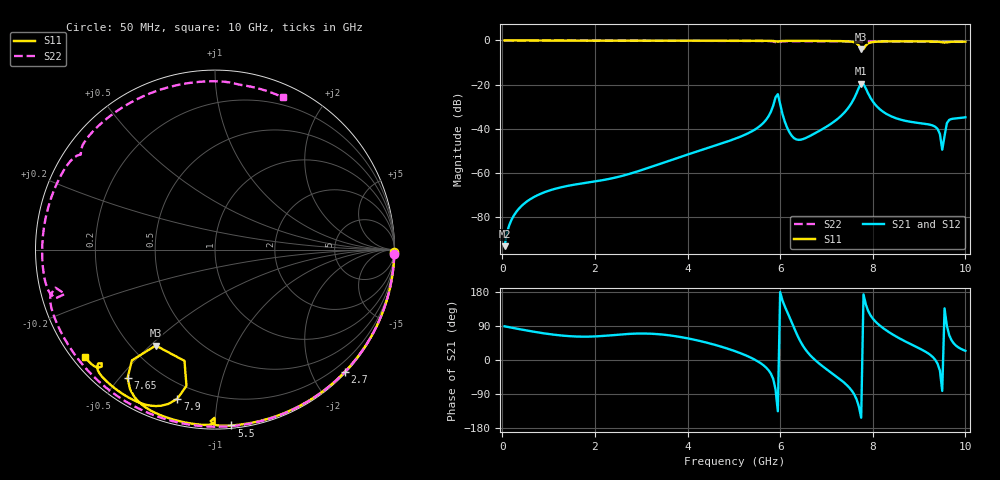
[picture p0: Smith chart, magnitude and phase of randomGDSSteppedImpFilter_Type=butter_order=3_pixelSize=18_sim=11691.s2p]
! freq	dB(S11)	phase(S11)	dB(S12)	phase(S12)
!  dB(S21)	phase(S21)	dB(S22)	phase(S22)
!S-par simulation data
#  GHz  S  DB  R 50
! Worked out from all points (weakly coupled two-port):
!   200 points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, 50 MHz to 10 GHz, reference 50 ohm
!   highest |S21| = -19.54 dB at 7.75 GHz (marker M1); lowest = -93.2 dB at 50 MHz (marker M2)
!   lowest |S11| = -4.0 dB at 7.75 GHz (marker M3), VSWR 4.38, Z = 14.7 - j26 ohm
!   |S11| at or under -10 dB: nowhere
!   |S22| runs from -1.2 to 0.0 dB; largest |S21 - S12| = 0
!   S11 on the Smith chart (normalised r, x): 50 MHz: open; 2.7 GHz: 0.02, -2.53; 5.5 GHz: 0.02, -1.10; 7.65 GHz: 0.09, -0.53; 7.9 GHz: 0.12, -0.77; 10 GHz: 0.04, -0.36
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0.05  -0.01 -0.8  -93.25 88.9  -93.25 88.9  -0.01 -1.5
0.85  -0.02 -13.9  -69.30 71.3  -69.30 71.3  -0.03 -26.0
1.75  -0.04 -28.3  -64.71 61.6  -64.71 61.6  -0.07 -52.7
2.7  -0.06 -43.2  -60.75 68.6  -60.75 68.6  -0.10 -79.6
3.4  -0.07 -53.9  -55.98 67.8  -55.98 67.8  -0.13 -98.6
5.05  -0.12 -78.1  -44.37 22.2  -44.37 22.2  -0.21 -141.6
5.5  -0.14 -84.7  -39.77 -2.4  -39.77 -2.4  -0.24 -153.5
5.75  -0.17 -88.5  -34.34 -27.1  -34.34 -27.1  -0.29 -160.8
5.95  -0.56 -90.2  -24.35 -135.2  -24.35 -135.2  -1.19 -163.5
6.25  -0.19 -94.5  -43.21 99.5  -43.21 99.5  -0.32 -171.6
6.7  -0.21 -101.3  -42.67 6.2  -42.67 6.2  -0.34 175.6
7.3  -0.30 -111.5  -34.48 -51.5  -34.48 -51.5  -0.40 158.2
7.65  -1.25 -124.2  -23.90 -103.6  -23.90 -103.6  -0.54 147.1
7.75  -4.04 -121.7  -19.54 -152.2  -19.54 -152.2  -0.76 144.7
7.9  -1.34 -104.2  -24.03 129.7  -24.03 129.7  -0.54 141.5
8.35  -0.42 -117.7  -33.91 73.4  -33.91 73.4  -0.48 126.3
9.35  -0.52 -133.4  -39.13 0.4  -39.13 0.4  -0.56 90.8
9.45  -0.66 -135.2  -42.43 -28.0  -42.43 -28.0  -0.57 86.9
9.5  -0.83 -135.7  -49.52 -81.6  -49.52 -81.6  -0.58 84.9
9.6  -0.84 -134.1  -37.50 90.1  -37.50 90.1  -0.64 81.2
9.65  -0.68 -134.6  -36.02 65.8  -36.02 65.8  -0.64 79.5
10  -0.55 -140.4  -34.83 24.2  -34.83 24.2  -0.64 65.9
